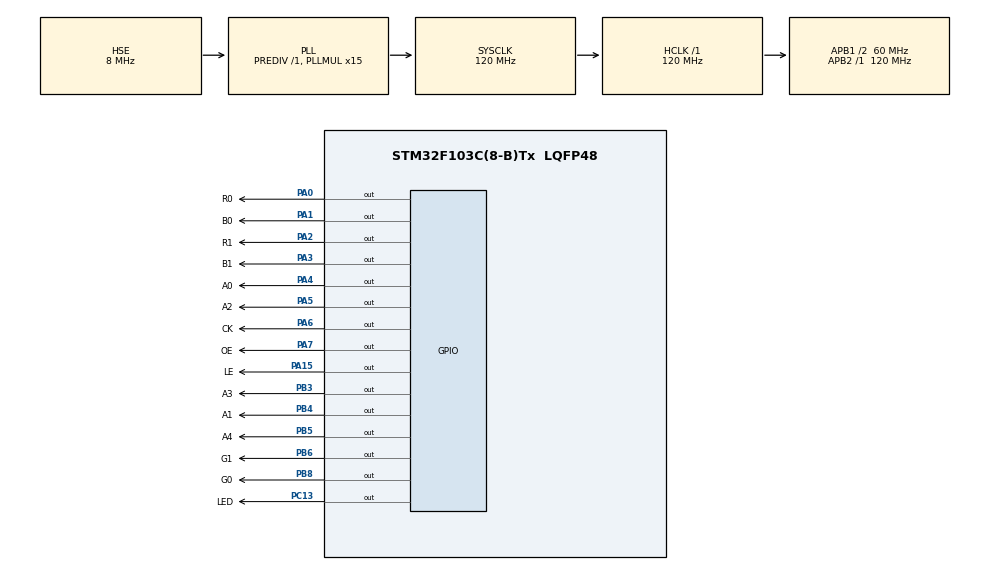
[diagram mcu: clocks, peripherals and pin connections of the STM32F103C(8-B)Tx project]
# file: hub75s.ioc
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Mcu.Family=STM32F1
Mcu.Name=STM32F103C(8-B)Tx
Mcu.Package=LQFP48
NVIC.PriorityGroup=NVIC_PRIORITYGROUP_4
NVIC.TIM1_UP_IRQn=true\:1\:0\:true\:false\:true\:true\:true\:true
NVIC.TIM2_IRQn=true\:2\:0\:true\:false\:true\:true\:true\:true
PA0-WKUP.GPIO_Label=R0
PA0-WKUP.GPIO_ModeDefaultOutputPP=GPIO_MODE_OUTPUT_PP
PA0-WKUP.GPIO_PuPd=GPIO_NOPULL
PA0-WKUP.GPIO_Speed=GPIO_SPEED_FREQ_HIGH
PA0-WKUP.PinState=GPIO_PIN_RESET
PA0-WKUP.Signal=GPIO_Output
PA1.GPIO_Label=B0
PA1.GPIO_ModeDefaultOutputPP=GPIO_MODE_OUTPUT_PP
PA1.GPIO_PuPd=GPIO_NOPULL
PA1.GPIO_Speed=GPIO_SPEED_FREQ_HIGH
PA1.PinState=GPIO_PIN_RESET
PA1.Signal=GPIO_Output
PA15.GPIO_Label=LE
PA15.GPIO_ModeDefaultOutputPP=GPIO_MODE_OUTPUT_PP
PA15.GPIO_PuPd=GPIO_NOPULL
PA15.GPIO_Speed=GPIO_SPEED_FREQ_HIGH
PA15.PinState=GPIO_PIN_RESET
PA15.Signal=GPIO_Output
PA2.GPIO_Label=R1
PA2.GPIO_ModeDefaultOutputPP=GPIO_MODE_OUTPUT_PP
PA2.GPIO_PuPd=GPIO_NOPULL
PA2.GPIO_Speed=GPIO_SPEED_FREQ_HIGH
PA2.PinState=GPIO_PIN_RESET
PA2.Signal=GPIO_Output
PA3.GPIO_Label=B1
PA3.GPIO_ModeDefaultOutputPP=GPIO_MODE_OUTPUT_PP
PA3.GPIO_PuPd=GPIO_NOPULL
PA3.GPIO_Speed=GPIO_SPEED_FREQ_HIGH
PA3.PinState=GPIO_PIN_RESET
PA3.Signal=GPIO_Output
PA4.GPIO_Label=A0
PA4.GPIO_ModeDefaultOutputPP=GPIO_MODE_OUTPUT_PP
PA4.GPIO_PuPd=GPIO_NOPULL
PA4.GPIO_Speed=GPIO_SPEED_FREQ_HIGH
PA4.PinState=GPIO_PIN_RESET
PA4.Signal=GPIO_Output
PA5.GPIO_Label=A2
PA5.GPIO_ModeDefaultOutputPP=GPIO_MODE_OUTPUT_PP
PA5.GPIO_PuPd=GPIO_NOPULL
PA5.GPIO_Speed=GPIO_SPEED_FREQ_HIGH
PA5.PinState=GPIO_PIN_RESET
PA5.Signal=GPIO_Output
PA6.GPIO_Label=CK
PA6.GPIO_ModeDefaultOutputPP=GPIO_MODE_OUTPUT_PP
PA6.GPIO_PuPd=GPIO_NOPULL
PA6.GPIO_Speed=GPIO_SPEED_FREQ_HIGH
PA6.PinState=GPIO_PIN_RESET
PA6.Signal=GPIO_Output
PA7.GPIO_Label=OE
PA7.GPIO_ModeDefaultOutputPP=GPIO_MODE_OUTPUT_PP
PA7.GPIO_PuPd=GPIO_NOPULL
PA7.GPIO_Speed=GPIO_SPEED_FREQ_HIGH
PA7.PinState=GPIO_PIN_RESET
PA7.Signal=GPIO_Output
PB3.GPIO_Label=A3
PB3.GPIO_ModeDefaultOutputPP=GPIO_MODE_OUTPUT_PP
PB3.GPIO_PuPd=GPIO_NOPULL
PB3.GPIO_Speed=GPIO_SPEED_FREQ_HIGH
PB3.PinState=GPIO_PIN_RESET
PB3.Signal=GPIO_Output
PB4.GPIO_Label=A1
PB4.GPIO_ModeDefaultOutputPP=GPIO_MODE_OUTPUT_PP
PB4.GPIO_PuPd=GPIO_NOPULL
PB4.GPIO_Speed=GPIO_SPEED_FREQ_HIGH
PB4.PinState=GPIO_PIN_RESET
PB4.Signal=GPIO_Output
PB5.GPIO_Label=A4
PB5.GPIO_ModeDefaultOutputPP=GPIO_MODE_OUTPUT_PP
PB5.GPIO_PuPd=GPIO_NOPULL
PB5.GPIO_Speed=GPIO_SPEED_FREQ_HIGH
PB5.PinState=GPIO_PIN_RESET
PB5.Signal=GPIO_Output
PB6.GPIO_Label=G1
PB6.GPIO_ModeDefaultOutputPP=GPIO_MODE_OUTPUT_PP
PB6.GPIO_PuPd=GPIO_NOPULL
PB6.GPIO_Speed=GPIO_SPEED_FREQ_HIGH
PB6.PinState=GPIO_PIN_RESET
PB6.Signal=GPIO_Output
PB8.GPIO_Label=G0
PB8.GPIO_ModeDefaultOutputPP=GPIO_MODE_OUTPUT_PP
PB8.GPIO_PuPd=GPIO_NOPULL
PB8.GPIO_Speed=GPIO_SPEED_FREQ_HIGH
PB8.PinState=GPIO_PIN_RESET
PB8.Signal=GPIO_Output
PC13-TAMPER-RTC.GPIO_Label=LED
PC13-TAMPER-RTC.GPIO_ModeDefaultOutputPP=GPIO_MODE_OUTPUT_PP
PC13-TAMPER-RTC.GPIO_PuPd=GPIO_NOPULL
PC13-TAMPER-RTC.GPIO_Speed=GPIO_SPEED_FREQ_LOW
PC13-TAMPER-RTC.PinState=GPIO_PIN_RESET
PC13-TAMPER-RTC.Signal=GPIO_Output
PD0-OSC_IN.Mode=HSE-External-Oscillator
PD0-OSC_IN.Signal=RCC_OSC_IN
PD1-OSC_OUT.Mode=HSE-External-Oscillator
PD1-OSC_OUT.Signal=RCC_OSC_OUT
ProjectManager.HeapSize=0x200
ProjectManager.StackSize=0x400
ProjectManager.TargetToolchain=STM32CubeIDE
RCC.AHBFreq_Value=120000000
RCC.APB1CLKDivider=RCC_HCLK_DIV2
RCC.APB1Freq_Value=60000000
RCC.APB1TimFreq_Value=120000000
RCC.APB2Freq_Value=120000000
RCC.APB2TimFreq_Value=120000000
RCC.HCLKFreq_Value=120000000
RCC.PLLMUL=RCC_PLL_MUL15
RCC.PLLSourceVirtual=RCC_PLLSOURCE_HSE
RCC.SYSCLKFreq_VALUE=120000000
RCC.SYSCLKSource=RCC_SYSCLKSOURCE_PLLCLK
RCC.USBFreq_Value=120000000
TIM2.Prescaler=7
VP_SYS_VS_ND.Mode=No_Debug
VP_TIM1_VS_ClockSourceINT.Mode=Internal
VP_TIM2_VS_ClockSourceINT.Mode=Internal
board=custom

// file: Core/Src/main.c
/* USER CODE BEGIN Header */
/**
  ******************************************************************************
  * @file           : main.c
  * @brief          : Main program body
  ******************************************************************************
  * @attention
  *
  * Copyright (c) 2024 STMicroelectronics.
  * All rights reserved.
  *
  * This software is licensed under terms that can be found in the LICENSE file
  * in the root directory of this software component.
  * If no LICENSE file comes with this software, it is provided AS-IS.
  *
  ******************************************************************************
  */
/* USER CODE END Header */
#include "main.h"

/* USER CODE BEGIN Includes */
#include "hub75.h"

#include "fonts/system6x8.h"
#include "fonts/system12x16.h"

/* USER CODE END Includes */

TIM_HandleTypeDef htim1;
TIM_HandleTypeDef htim2;

void SystemClock_Config(void);
static void MX_GPIO_Init(void);
static void MX_TIM2_Init(void);
static void MX_TIM1_Init(void);

int main(void)
{

  /* MCU Configuration--------------------------------------------------------*/

  /* Reset of all peripherals, Initializes the Flash interface and the Systick. */
  HAL_Init();

  /* Configure the system clock */
  SystemClock_Config();

  /* Initialize all configured peripherals */
  MX_GPIO_Init();
  MX_TIM2_Init();
  MX_TIM1_Init();
  /* USER CODE BEGIN 2 */
  delay_init();
  hub75_begin();

  hub75_setFonts(system12x16);
  hub75_setColor(clCYAN);
  hub75_setCursor(0, 0);
  hub75_print("00:00");
  delay_ms(1000);

  hub75_setCursor(64, 16);
  hub75_print("00:00");
  delay_ms(1000);
  /* USER CODE END 2 */

  /* Infinite loop */
  /* USER CODE BEGIN WHILE */
  while (1) {
    hub75_fillColor(clRED);
    delay_ms(1000);
    hub75_fillColor(clGREEN);
    delay_ms(1000);
    hub75_fillColor(clBLUE);
    delay_ms(1000);
    /* USER CODE END WHILE */

  }
}

void SystemClock_Config(void)
{
  RCC_OscInitTypeDef RCC_OscInitStruct = {0};
  RCC_ClkInitTypeDef RCC_ClkInitStruct = {0};

  /** Initializes the RCC Oscillators according to the specified parameters
  * in the RCC_OscInitTypeDef structure.
  */
  RCC_OscInitStruct.OscillatorType = RCC_OSCILLATORTYPE_HSE;
  RCC_OscInitStruct.HSEState = RCC_HSE_ON;
  RCC_OscInitStruct.HSEPredivValue = RCC_HSE_PREDIV_DIV1;
  RCC_OscInitStruct.HSIState = RCC_HSI_ON;
  RCC_OscInitStruct.PLL.PLLState = RCC_PLL_ON;
  RCC_OscInitStruct.PLL.PLLSource = RCC_PLLSOURCE_HSE;
  RCC_OscInitStruct.PLL.PLLMUL = RCC_PLL_MUL15;
  if (HAL_RCC_OscConfig(&RCC_OscInitStruct) != HAL_OK)
  {
    Error_Handler();
  }

  /** Initializes the CPU, AHB and APB buses clocks
  */
  RCC_ClkInitStruct.ClockType = RCC_CLOCKTYPE_HCLK|RCC_CLOCKTYPE_SYSCLK
                              |RCC_CLOCKTYPE_PCLK1|RCC_CLOCKTYPE_PCLK2;
  RCC_ClkInitStruct.SYSCLKSource = RCC_SYSCLKSOURCE_PLLCLK;
  RCC_ClkInitStruct.AHBCLKDivider = RCC_SYSCLK_DIV1;
  RCC_ClkInitStruct.APB1CLKDivider = RCC_HCLK_DIV2;
  RCC_ClkInitStruct.APB2CLKDivider = RCC_HCLK_DIV1;

  if (HAL_RCC_ClockConfig(&RCC_ClkInitStruct, FLASH_LATENCY_2) != HAL_OK)
  {
    Error_Handler();
  }
}

static void MX_TIM1_Init(void)
{

  TIM_ClockConfigTypeDef sClockSourceConfig = {0};
  TIM_MasterConfigTypeDef sMasterConfig = {0};

  htim1.Instance = TIM1;
  htim1.Init.Prescaler = 0;
  htim1.Init.CounterMode = TIM_COUNTERMODE_UP;
  htim1.Init.Period = 65535;
  htim1.Init.ClockDivision = TIM_CLOCKDIVISION_DIV1;
  htim1.Init.RepetitionCounter = 0;
  htim1.Init.AutoReloadPreload = TIM_AUTORELOAD_PRELOAD_DISABLE;
  if (HAL_TIM_Base_Init(&htim1) != HAL_OK)
  {
    Error_Handler();
  }
  sClockSourceConfig.ClockSource = TIM_CLOCKSOURCE_INTERNAL;
  if (HAL_TIM_ConfigClockSource(&htim1, &sClockSourceConfig) != HAL_OK)
  {
    Error_Handler();
  }
  sMasterConfig.MasterOutputTrigger = TIM_TRGO_RESET;
  sMasterConfig.MasterSlaveMode = TIM_MASTERSLAVEMODE_DISABLE;
  if (HAL_TIMEx_MasterConfigSynchronization(&htim1, &sMasterConfig) != HAL_OK)
  {
    Error_Handler();
  }

}

static void MX_TIM2_Init(void)
{

  TIM_ClockConfigTypeDef sClockSourceConfig = {0};
  TIM_MasterConfigTypeDef sMasterConfig = {0};

  htim2.Instance = TIM2;
  htim2.Init.Prescaler = 7;
  htim2.Init.CounterMode = TIM_COUNTERMODE_UP;
  htim2.Init.Period = 65535;
  htim2.Init.ClockDivision = TIM_CLOCKDIVISION_DIV1;
  htim2.Init.AutoReloadPreload = TIM_AUTORELOAD_PRELOAD_DISABLE;
  if (HAL_TIM_Base_Init(&htim2) != HAL_OK)
  {
    Error_Handler();
  }
  sClockSourceConfig.ClockSource = TIM_CLOCKSOURCE_INTERNAL;
  if (HAL_TIM_ConfigClockSource(&htim2, &sClockSourceConfig) != HAL_OK)
  {
    Error_Handler();
  }
  sMasterConfig.MasterOutputTrigger = TIM_TRGO_RESET;
  sMasterConfig.MasterSlaveMode = TIM_MASTERSLAVEMODE_DISABLE;
  if (HAL_TIMEx_MasterConfigSynchronization(&htim2, &sMasterConfig) != HAL_OK)
  {
    Error_Handler();
  }

}

static void MX_GPIO_Init(void)
{
  GPIO_InitTypeDef GPIO_InitStruct = {0};

  /* GPIO Ports Clock Enable */
  __HAL_RCC_GPIOC_CLK_ENABLE();
  __HAL_RCC_GPIOD_CLK_ENABLE();
  __HAL_RCC_GPIOA_CLK_ENABLE();
  __HAL_RCC_GPIOB_CLK_ENABLE();

  /*Configure GPIO pin Output Level */
  HAL_GPIO_WritePin(LED_GPIO_Port, LED_Pin, GPIO_PIN_RESET);

  /*Configure GPIO pin Output Level */
  HAL_GPIO_WritePin(GPIOA, R0_Pin|B0_Pin|R1_Pin|B1_Pin
                          |A0_Pin|A2_Pin|CK_Pin|OE_Pin
                          |LE_Pin, GPIO_PIN_RESET);

  /*Configure GPIO pin Output Level */
  HAL_GPIO_WritePin(GPIOB, A3_Pin|A1_Pin|A4_Pin|G1_Pin
                          |G0_Pin, GPIO_PIN_RESET);

  /*Configure GPIO pin : LED_Pin */
  GPIO_InitStruct.Pin = LED_Pin;
  GPIO_InitStruct.Mode = GPIO_MODE_OUTPUT_PP;
  GPIO_InitStruct.Pull = GPIO_NOPULL;
  GPIO_InitStruct.Speed = GPIO_SPEED_FREQ_LOW;
  HAL_GPIO_Init(LED_GPIO_Port, &GPIO_InitStruct);

  /*Configure GPIO pins : R0_Pin B0_Pin R1_Pin B1_Pin
                           A0_Pin A2_Pin CK_Pin OE_Pin
                           LE_Pin */
  GPIO_InitStruct.Pin = R0_Pin|B0_Pin|R1_Pin|B1_Pin
                          |A0_Pin|A2_Pin|CK_Pin|OE_Pin
                          |LE_Pin;
  GPIO_InitStruct.Mode = GPIO_MODE_OUTPUT_PP;
  GPIO_InitStruct.Pull = GPIO_NOPULL;
  GPIO_InitStruct.Speed = GPIO_SPEED_FREQ_HIGH;
  HAL_GPIO_Init(GPIOA, &GPIO_InitStruct);

  /*Configure GPIO pins : A3_Pin A1_Pin A4_Pin G1_Pin
                           G0_Pin */
  GPIO_InitStruct.Pin = A3_Pin|A1_Pin|A4_Pin|G1_Pin
                          |G0_Pin;
  GPIO_InitStruct.Mode = GPIO_MODE_OUTPUT_PP;
  GPIO_InitStruct.Pull = GPIO_NOPULL;
  GPIO_InitStruct.Speed = GPIO_SPEED_FREQ_HIGH;
  HAL_GPIO_Init(GPIOB, &GPIO_InitStruct);

}

void Error_Handler(void)
{
  __disable_irq();
  while (1)
  {
  }
}
